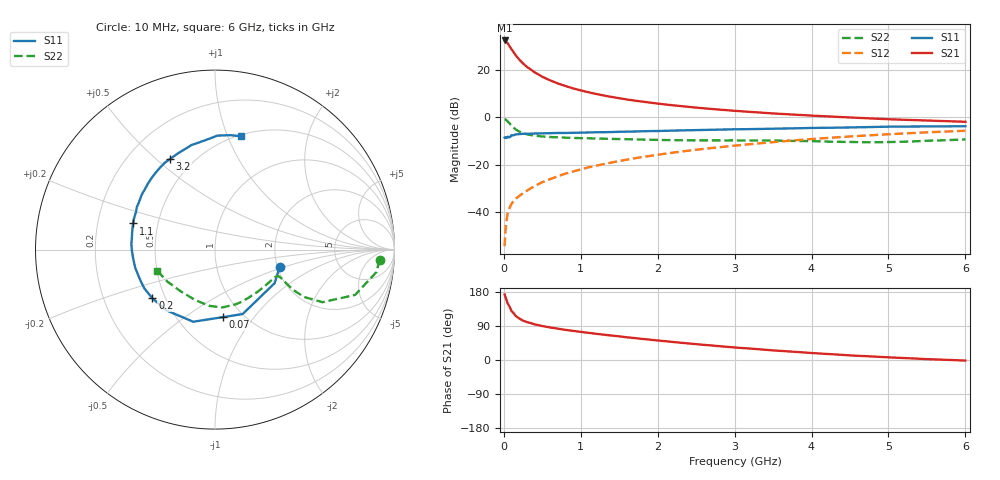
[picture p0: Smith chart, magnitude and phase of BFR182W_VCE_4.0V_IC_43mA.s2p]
! (c) 2017  Infineon Technologies AG, Munich
! Infineon Technologies  Discrete & RF Semiconductors
! BFR182W
! VCE =  4.0 V,  IC =  43 mA
! Common Emitter S-Parameters:  Jan 2017
# GHz  S  MA  R  50
!  f  S11  S21  S12  S22
! GHz  MAG  ANG  MAG  ANG  MAG  ANG  MAG  ANG
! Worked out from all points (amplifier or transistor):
!   77 points, 10 MHz to 6 GHz, reference 50 ohm
!   highest |S21| = 32.5 dB at 10 MHz (marker M1)
!   |S21| within 3 dB of that: start of sweep to 85.24 MHz
!   unconditionally stable (mu >= 1): 373.7 MHz to 2.358 GHz
!   at 130 MHz: K = 0.63, MSG = 31.3 dB, |S12| = -35.2 dB
!   at 2.2 GHz: K = 1.02, MAG = 9.2 dB, |S12| = -14.9 dB
!   at 6 GHz: K = 0.91, MSG = 1.9 dB, |S12| = -5.7 dB
!   S11 on the Smith chart (normalised r, x): 10 MHz: 2.06, -0.46; 70 MHz: 0.81, -0.71; 200 MHz: 0.43, -0.29; 1.1 GHz: 0.36, +0.14; 3.2 GHz: 0.38, +0.56; 6 GHz: 0.51, +1.12
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0.01  0.3734 -15.0  42.02 173.0  0.0019 84.7  0.9184 -3.5
0.02  0.3812 -29.5  41.92 166.7  0.0039 82.2  0.9084 -7.9
0.05  0.3907 -66.8  36.61 149.0  0.0094 69.2  0.8207 -17.9
0.07  0.3788 -83.4  32.5 142.4  0.0116 66.6  0.757 -20.8
0.1  0.4199 -106.8  27.46 129.0  0.0149 64.2  0.6658 -26.1
0.15  0.4335 -128.7  20.92 117.1  0.0189 61.3  0.5606 -28.0
0.2  0.442 -142.1  16.6 109.5  0.0218 62.9  0.5002 -27.4
0.25  0.4493 -151.3  13.71 103.9  0.0251 62.8  0.4628 -26.3
0.3  0.4498 -157.9  11.61 100.0  0.0282 65.3  0.4369 -25.2
0.4  0.456 -167.3  8.908 94.0  0.0352 68.5  0.4096 -23.6
0.5  0.4586 -174.0  7.194 89.6  0.0427 70.3  0.3935 -22.9
0.6  0.4629 -179.2  6.049 85.9  0.0494 72.2  0.3839 -22.8
0.7  0.467 176.3  5.216 82.7  0.0568 73.4  0.3776 -23.1
0.9  0.4711 168.6  4.086 76.8  0.0717 74.2  0.3673 -24.9
1.1  0.4789 162.3  3.383 71.7  0.0879 74.6  0.3611 -27.4
1.5  0.4954 151.7  2.529 62.3  0.1193 74.0  0.347 -34.0
2.1  0.5191 137.6  1.871 49.6  0.1707 70.9  0.3312 -47.3
3.1  0.5612 118.1  1.338 31.6  0.2614 62.9  0.3244 -73.0
3.2  0.5638 116.3  1.304 30.2  0.2708 62.0  0.3235 -75.5
4.1  0.5991 101.1  1.068 17.2  0.3568 52.9  0.3106 -98.8
5.1  0.6364 87.4  0.9 6.1  0.4476 41.6  0.3025 -132.9
6  0.6484 76.9  0.805 -1.5  0.5205 31.0  0.3427 -160.0
